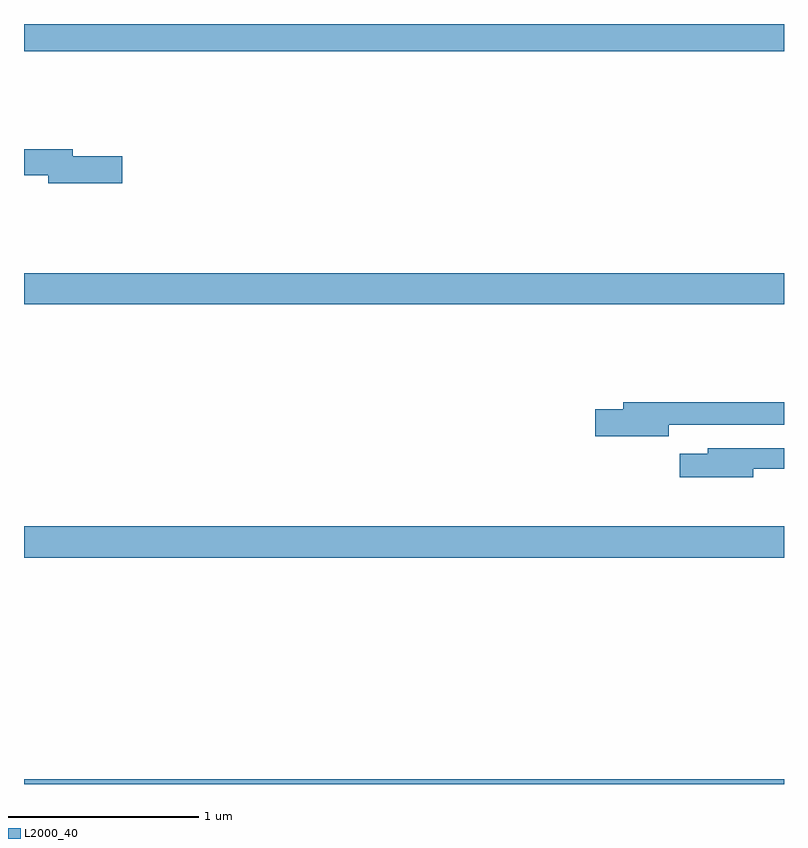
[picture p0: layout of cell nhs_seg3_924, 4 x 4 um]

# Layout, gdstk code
import gdstk
lib = gdstk.Library(unit=1e-6, precision=1e-09)
def R(c, l, rs):  # rectangles x0, y0, x1, y1
    for r in rs: c.add(gdstk.rectangle(r[:2], r[2:], *l))
def P(c, l, *ps):  # polygons
    for p in ps: c.add(gdstk.Polygon(p, *l))
L2000_40 = (2000, 40)

nhs_seg3_924 = lib.new_cell('nhs_seg3_924')
R(nhs_seg3_924, L2000_40, [(159,690.4,163,690.424), (159,691.592,163,691.756), (159,692.924,163,693.088), (159,694.256,163,694.4)])
P(nhs_seg3_924, L2000_40, [(159.517,693.704),(159.256,693.704),(159.256,693.74),(159,693.74),(159,693.604),(159.128,693.604),(159.128,693.562),(159.517,693.562)],
  [(162.394,692.292),(163,692.292),(163,692.408),(162.155,692.408),(162.155,692.372),(162.006,692.372),(162.006,692.23),(162.394,692.23)],
  [(162.838,692.058),(163,692.058),(163,692.166),(162.599,692.166),(162.599,692.137),(162.45,692.137),(162.45,692.015),(162.838,692.015)])

lib.write_gds('nhs_seg3_924.gds')
